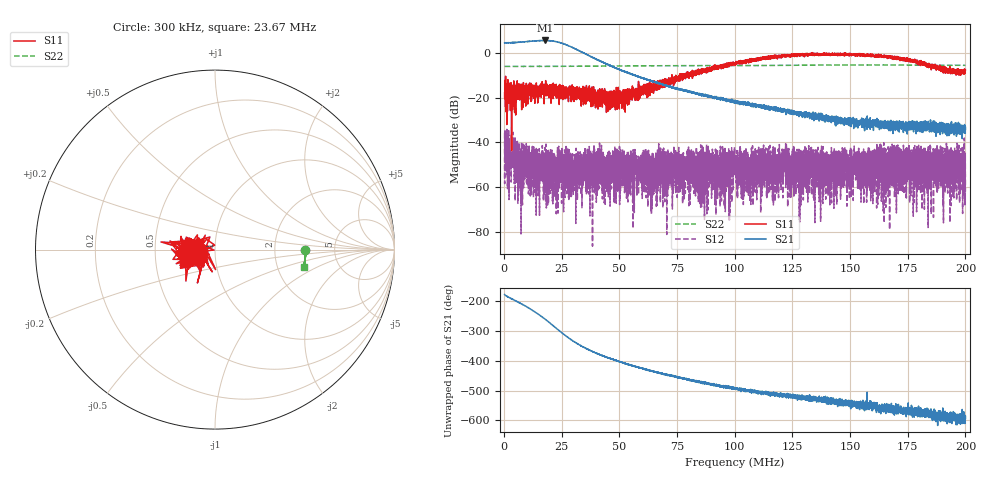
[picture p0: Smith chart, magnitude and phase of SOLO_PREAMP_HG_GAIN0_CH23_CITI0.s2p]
# Hz S DB R 50
! CMT, M5065, 19127446, 24.2.4/2
! Date: 9/20/2024 3:24:49 PM
! Data: Format (Calibration Info)
! Freq	S11:dB/Ang(F2)	S21:dB/Ang(F2)	S12:dB/Ang(F2)	S22:dB/Ang(F2)
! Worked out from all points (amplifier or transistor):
!   7000 points, 300 kHz to 200 MHz, reference 50 ohm
!   highest |S21| = 5.7 dB at 17.82 MHz (marker M1)
!   |S21| within 3 dB of that: start of sweep to 29.36 MHz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
!   unconditionally stable (mu >= 1): start of sweep to 133.2 MHz; 133.8 MHz to 138.7 MHz; 142.4 MHz to end of sweep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
!   at 33.57 MHz: K = 225.46, MAG = 1.9 dB, |S12| = -56.3 dB
!   at 100.2 MHz: K = 1452.80, MAG = -17.9 dB, |S12| = -54.8 dB
!   at 200 MHz: K = 18448.26, MAG = -31.7 dB, |S12| = -61.9 dB
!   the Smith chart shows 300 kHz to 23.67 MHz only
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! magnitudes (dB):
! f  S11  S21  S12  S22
! 300 kHz  -17.8  4.6  -35.7  -6.0
! 1.327 MHz  -20.4  4.6  -36.8  -6.0
! 3.638 MHz  -18.7  4.7  -39.8  -6.0
! 7.633 MHz  -20.7  5.0  -41.0  -6.0
! 10.29 MHz  -19.5  5.2  -58.9  -5.9
! 12.4 MHz  -15.7  5.3  -43.3  -5.9
! 17.82 MHz  -17.3  5.7  -49.1  -6.0
! 33.6 MHz  -17.9  0.5  -49.5  -5.9
! 51.57 MHz  -17.3  -7.9  -59.1  -5.8
! 64.07 MHz  -17.6  -12.4  -54.8  -5.7
! 66.87 MHz  -13.7  -13.4  -58.8  -5.7
! 100.2 MHz  -4.3  -21.3  -54.8  -5.6
! 133.5 MHz  -0.2  -28.9  -48.6  -5.4
! 142.1 MHz  -0.9  -28.6  -47.3  -5.3
! 147.3 MHz  -0.3  -31.1  -52.5  -5.3
! 149.6 MHz  -0.9  -30.9  -46.4  -5.3
! 152.2 MHz  -0.7  -32.3  -49.9  -5.3
! 155.1 MHz  -1.1  -29.0  -49.8  -5.3
! 166.7 MHz  -1.7  -32.6  -57.1  -5.3
! 196.1 MHz  -8.4  -34.0  -52.4  -5.4
! 199 MHz  -8.6  -33.3  -47.1  -5.5
! 200 MHz  -7.4  -34.1  -61.9  -5.5
